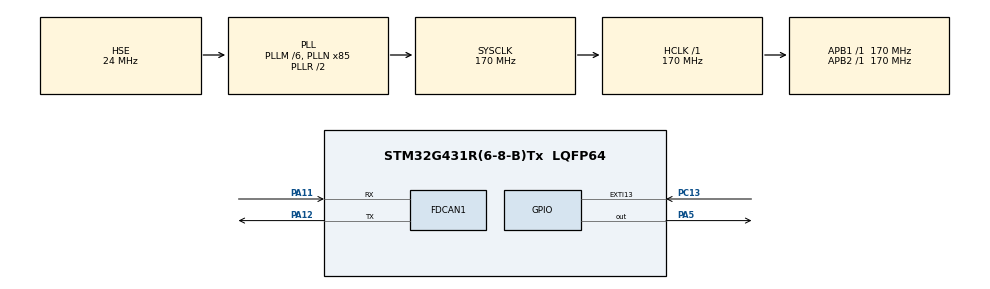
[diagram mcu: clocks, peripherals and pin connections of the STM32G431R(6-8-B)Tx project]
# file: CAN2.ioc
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FDCAN1.CalculateBaudRateNominal=500000
FDCAN1.CalculateTimeBitNominal=2000
FDCAN1.CalculateTimeQuantumNominal=100.0
FDCAN1.DataTimeSeg1=15
FDCAN1.DataTimeSeg2=4
FDCAN1.FrameFormat=FDCAN_FRAME_FD_BRS
FDCAN1.NominalPrescaler=17
FDCAN1.NominalTimeSeg1=15
FDCAN1.NominalTimeSeg2=4
FDCAN1.StdFiltersNbr=3
Mcu.Family=STM32G4
Mcu.Name=STM32G431R(6-8-B)Tx
Mcu.Package=LQFP64
NUCLEO-G431RB.BUTTON=1
NUCLEO-G431RB.LD1=true
NUCLEO-G431RB.VCP=true
NVIC.EXTI15_10_IRQn=true\:0\:0\:false\:false\:true\:false\:true\:true
NVIC.FDCAN1_IT0_IRQn=true\:0\:0\:false\:false\:true\:true\:true\:true
NVIC.PriorityGroup=NVIC_PRIORITYGROUP_4
PA11.Mode=FDCAN_Activate
PA11.Signal=FDCAN1_RX
PA12.Mode=FDCAN_Activate
PA12.Signal=FDCAN1_TX
PA13.GPIO_Label=T_SWDIO
PA13.Signal=SYS_JTMS-SWDIO
PA14.GPIO_Label=T_SWCLK
PA14.Signal=SYS_JTCK-SWCLK
PA2.Signal=LPUART1_TX
PA3.Signal=LPUART1_RX
PA5.Signal=GPIO_Output
PB3.GPIO_Label=T_SWO
PB3.Signal=SYS_JTDO-SWO
PC13.Signal=GPXTI13
PC14-OSC32_IN.GPIO_Label=RCC_OSC32_OUT
PC14-OSC32_IN.Signal=RCC_OSC32_IN
PC15-OSC32_OUT.GPIO_Label=RCC_OSC32_OUT
PC15-OSC32_OUT.Signal=RCC_OSC32_OUT
PF0-OSC_IN.GPIO_Label=RCC_OSC_IN
PF0-OSC_IN.Mode=HSE-External-Oscillator
PF0-OSC_IN.Signal=RCC_OSC_IN
PF1-OSC_OUT.GPIO_Label=RCC_OSC_OUT
PF1-OSC_OUT.Mode=HSE-External-Oscillator
PF1-OSC_OUT.Signal=RCC_OSC_OUT
ProjectManager.HeapSize=0x200
ProjectManager.StackSize=0x400
ProjectManager.TargetToolchain=STM32CubeIDE
RCC.ADC12Freq_Value=170000000
RCC.AHBFreq_Value=170000000
RCC.APB1Freq_Value=170000000
RCC.APB1TimFreq_Value=170000000
RCC.APB2Freq_Value=170000000
RCC.APB2TimFreq_Value=170000000
RCC.CortexFreq_Value=170000000
RCC.EXTERNAL_CLOCK_VALUE=12288000
RCC.HCLKFreq_Value=170000000
RCC.HSE_VALUE=24000000
RCC.HSI48_VALUE=48000000
RCC.HSI_VALUE=16000000
RCC.LSE_VALUE=32768
RCC.PLLM=RCC_PLLM_DIV6
RCC.PLLN=85
RCC.PLLSourceVirtual=RCC_PLLSOURCE_HSE
RCC.RTCClockSelection=RCC_RTCCLKSOURCE_LSE
RCC.SYSCLKFreq_VALUE=170000000
RCC.SYSCLKSource=RCC_SYSCLKSOURCE_PLLCLK
RCC.USBFreq_Value=170000000
RCC.VCOOutputFreq_Value=340000000
VP_NUCLEO-G431RB_VS_BSP_COMMON.Mode=COMMON
VP_SYS_VS_DBSignals.Mode=DisableDeadBatterySignals
board=NUCLEO-G431RB

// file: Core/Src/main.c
/* USER CODE BEGIN Header */
/**
  ******************************************************************************
  * @file           : main.c
  * @brief          : Main program body
  ******************************************************************************
  * @attention
  *
  * Copyright (c) 2026 STMicroelectronics.
  * All rights reserved.
  *
  * This software is licensed under terms that can be found in the LICENSE file
  * in the root directory of this software component.
  * If no LICENSE file comes with this software, it is provided AS-IS.
  *
  ******************************************************************************
  */
/* USER CODE END Header */
#include "main.h"

/* USER CODE BEGIN Includes */
#include <stdint.h>
#include <stdio.h>
/* USER CODE END Includes */

COM_InitTypeDef BspCOMInit;
FDCAN_HandleTypeDef hfdcan1;

/* USER CODE BEGIN PV */
int _write(int file, char *ptr, int len) {
	int DataIdx;
	for (DataIdx = 0; DataIdx < len; DataIdx++) {
		ITM_SendChar(*ptr++);
	}
	return len;
}
/* USER CODE END PV */

void SystemClock_Config(void);
static void MX_GPIO_Init(void);
static void MX_FDCAN1_Init(void);

/* USER CODE BEGIN 0 */

FDCAN_TxHeaderTypeDef   TxHeader;
FDCAN_RxHeaderTypeDef   RxHeader;

uint8_t             TxData[8];
uint8_t             RxData[8];

// uint32_t            TxMailbox;

void HAL_FDCAN_RxFifo0Callback(FDCAN_HandleTypeDef *hfdcan, uint32_t RxFifo0ITs)
{
  if ((RxFifo0ITs & FDCAN_IT_RX_FIFO0_NEW_MESSAGE) != 0U)
  {
    if (HAL_FDCAN_GetRxMessage(hfdcan, FDCAN_RX_FIFO0, &RxHeader, RxData) != HAL_OK)
    {
      Error_Handler();
    }
    else
    {
      /* Echo back to CAN1 with ID 0x447 */
      for (int i = 0; i < 8; i++) {
        TxData[i] = RxData[i];
      }
      TxHeader.DataLength = RxHeader.DataLength;
      if (HAL_FDCAN_AddMessageToTxFifoQ(hfdcan, &TxHeader, TxData) != HAL_OK)
      {
        Error_Handler();
      }
    }
  }
}

/* USER CODE END 0 */

int main(void)
{

  /* MCU Configuration--------------------------------------------------------*/

  /* Reset of all peripherals, Initializes the Flash interface and the Systick. */
  HAL_Init();

  /* Configure the system clock */
  SystemClock_Config();

  /* Initialize all configured peripherals */
  MX_GPIO_Init();
  MX_FDCAN1_Init();
  /* USER CODE BEGIN 2 */

  HAL_FDCAN_Start(&hfdcan1);

  HAL_FDCAN_ActivateNotification(&hfdcan1, FDCAN_IT_RX_FIFO0_NEW_MESSAGE, FDCAN_RX_FIFO0);

  TxHeader.Identifier = 0x447;
  TxHeader.IdType = FDCAN_STANDARD_ID;
  TxHeader.TxFrameType = FDCAN_DATA_FRAME;
  TxHeader.DataLength = FDCAN_DLC_BYTES_8;
  TxHeader.ErrorStateIndicator = FDCAN_ESI_ACTIVE;
  TxHeader.BitRateSwitch = FDCAN_BRS_ON;
  TxHeader.FDFormat = FDCAN_FD_CAN;
  TxHeader.TxEventFifoControl = FDCAN_NO_TX_EVENTS;
  TxHeader.MessageMarker = 0;

  /* USER CODE END 2 */

  /* Initialize leds */
  BSP_LED_Init(LED_GREEN);

  /* Initialize USER push-button, will be used to trigger an interrupt each time it's pressed.*/
  BSP_PB_Init(BUTTON_USER, BUTTON_MODE_EXTI);

  /* Initialize COM1 port (115200, 8 bits (7-bit data + 1 stop bit), no parity */
  BspCOMInit.BaudRate   = 115200;
  BspCOMInit.WordLength = COM_WORDLENGTH_8B;
  BspCOMInit.StopBits   = COM_STOPBITS_1;
  BspCOMInit.Parity     = COM_PARITY_NONE;
  BspCOMInit.HwFlowCtl  = COM_HWCONTROL_NONE;
  if (BSP_COM_Init(COM1, &BspCOMInit) != BSP_ERROR_NONE)
  {
    Error_Handler();
  }

  /* Infinite loop */
  /* USER CODE BEGIN WHILE */
  while (1)
  {
    /* idle */

    /* USER CODE END WHILE */

  }
}

void SystemClock_Config(void)
{
  RCC_OscInitTypeDef RCC_OscInitStruct = {0};
  RCC_ClkInitTypeDef RCC_ClkInitStruct = {0};

  /** Configure the main internal regulator output voltage
  */
  HAL_PWREx_ControlVoltageScaling(PWR_REGULATOR_VOLTAGE_SCALE1_BOOST);

  /** Initializes the RCC Oscillators according to the specified parameters
  * in the RCC_OscInitTypeDef structure.
  */
  RCC_OscInitStruct.OscillatorType = RCC_OSCILLATORTYPE_HSE;
  RCC_OscInitStruct.HSEState = RCC_HSE_ON;
  RCC_OscInitStruct.PLL.PLLState = RCC_PLL_ON;
  RCC_OscInitStruct.PLL.PLLSource = RCC_PLLSOURCE_HSE;
  RCC_OscInitStruct.PLL.PLLM = RCC_PLLM_DIV6;
  RCC_OscInitStruct.PLL.PLLN = 85;
  RCC_OscInitStruct.PLL.PLLP = RCC_PLLP_DIV2;
  RCC_OscInitStruct.PLL.PLLQ = RCC_PLLQ_DIV2;
  RCC_OscInitStruct.PLL.PLLR = RCC_PLLR_DIV2;
  if (HAL_RCC_OscConfig(&RCC_OscInitStruct) != HAL_OK)
  {
    Error_Handler();
  }

  /** Initializes the CPU, AHB and APB buses clocks
  */
  RCC_ClkInitStruct.ClockType = RCC_CLOCKTYPE_HCLK|RCC_CLOCKTYPE_SYSCLK
                              |RCC_CLOCKTYPE_PCLK1|RCC_CLOCKTYPE_PCLK2;
  RCC_ClkInitStruct.SYSCLKSource = RCC_SYSCLKSOURCE_PLLCLK;
  RCC_ClkInitStruct.AHBCLKDivider = RCC_SYSCLK_DIV1;
  RCC_ClkInitStruct.APB1CLKDivider = RCC_HCLK_DIV1;
  RCC_ClkInitStruct.APB2CLKDivider = RCC_HCLK_DIV1;

  if (HAL_RCC_ClockConfig(&RCC_ClkInitStruct, FLASH_LATENCY_4) != HAL_OK)
  {
    Error_Handler();
  }
}

static void MX_FDCAN1_Init(void)
{

  hfdcan1.Instance = FDCAN1;
  hfdcan1.Init.ClockDivider = FDCAN_CLOCK_DIV1;
  hfdcan1.Init.FrameFormat = FDCAN_FRAME_FD_BRS;
  hfdcan1.Init.Mode = FDCAN_MODE_NORMAL;
  hfdcan1.Init.AutoRetransmission = DISABLE;
  hfdcan1.Init.TransmitPause = DISABLE;
  hfdcan1.Init.ProtocolException = DISABLE;
  hfdcan1.Init.NominalPrescaler = 17;
  hfdcan1.Init.NominalSyncJumpWidth = 1;
  hfdcan1.Init.NominalTimeSeg1 = 15;
  hfdcan1.Init.NominalTimeSeg2 = 4;
  hfdcan1.Init.DataPrescaler = 1;
  hfdcan1.Init.DataSyncJumpWidth = 1;
  hfdcan1.Init.DataTimeSeg1 = 15;
  hfdcan1.Init.DataTimeSeg2 = 4;
  hfdcan1.Init.StdFiltersNbr = 3;
  hfdcan1.Init.ExtFiltersNbr = 0;
  hfdcan1.Init.TxFifoQueueMode = FDCAN_TX_FIFO_OPERATION;
  if (HAL_FDCAN_Init(&hfdcan1) != HAL_OK)
  {
    Error_Handler();
  }
  /* USER CODE BEGIN FDCAN1_Init 2 */

  FDCAN_FilterTypeDef  canFilterConfig;

  canFilterConfig.IdType = FDCAN_STANDARD_ID;
  canFilterConfig.FilterIndex = 0;
  canFilterConfig.FilterType = FDCAN_FILTER_MASK;
  canFilterConfig.FilterConfig = FDCAN_FILTER_TO_RXFIFO0;
  canFilterConfig.FilterID1 = 0x446;
  canFilterConfig.FilterID2 = 0x7FF;
  HAL_FDCAN_ConfigFilter(&hfdcan1, &canFilterConfig);

  /* USER CODE END FDCAN1_Init 2 */

}

static void MX_GPIO_Init(void)
{

  /* GPIO Ports Clock Enable */
  __HAL_RCC_GPIOC_CLK_ENABLE();
  __HAL_RCC_GPIOF_CLK_ENABLE();
  __HAL_RCC_GPIOA_CLK_ENABLE();
  __HAL_RCC_GPIOB_CLK_ENABLE();

}

void Error_Handler(void)
{
  __disable_irq();
  while (1)
  {
  }
}
